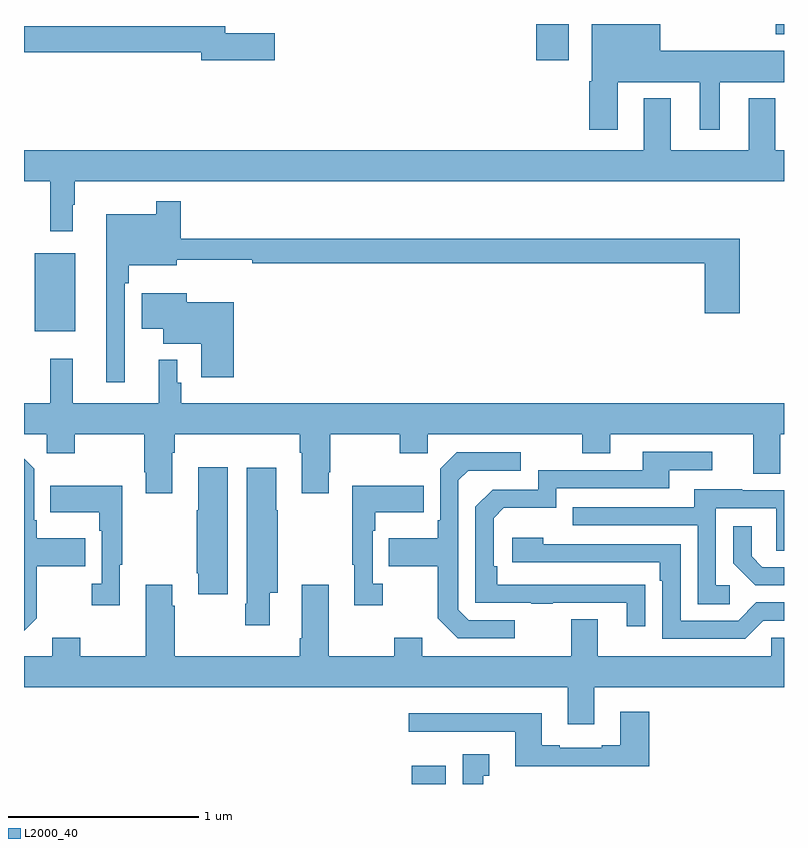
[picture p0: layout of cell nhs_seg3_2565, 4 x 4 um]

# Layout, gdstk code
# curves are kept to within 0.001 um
import gdstk
lib = gdstk.Library(unit=1e-6, precision=1e-09)
def R(c, l, rs):  # rectangles x0, y0, x1, y1
    for r in rs: c.add(gdstk.rectangle(r[:2], r[2:], *l))
def P(c, l, *ps):  # polygons
    for p in ps: c.add(gdstk.Polygon(p, *l))
L2000_40 = (2000, 40)

nhs_seg3_2565 = lib.new_cell('nhs_seg3_2565')
R(nhs_seg3_2565, L2000_40, [(245.042,708.4,245.221,708.496), (243.056,710.783,243.271,711.193), (245.696,712.209,245.866,712.4), (246.957,712.346,247,712.4)])
P(nhs_seg3_2565, L2000_40, [(246.124,712.094),(246.557,712.094),(246.557,711.843),(246.661,711.843),(246.661,712.094),(247,712.094),(247,712.258),(246.349,712.258),(246.349,712.4),(245.987,712.4),(245.987,712.098),(245.975,712.098),(245.975,711.843),(246.124,711.843)],
  [(244.321,712.352),(244.06,712.352),(244.06,712.388),(243,712.388),(243,712.252),(243.932,712.252),(243.932,712.21),(244.321,712.21)],
  [(243.256,711.449),(243.268,711.449),(243.268,711.572),(247,711.572),(247,711.736),(246.955,711.736),(246.955,712.009),(246.815,712.009),(246.815,711.736),(246.403,711.736),(246.403,712.009),(246.263,712.009),(246.263,711.736),(243,711.736),(243,711.572),(243.139,711.572),(243.139,711.309),(243.256,711.309)],
  [(243.531,711.035),(243.551,711.035),(243.551,711.131),(243.805,711.131),(243.805,711.16),(244.201,711.16),(244.201,711.142),(246.584,711.142),(246.584,710.877),(246.767,710.877),(246.767,711.271),(243.824,711.271),(243.824,711.466),(243.696,711.466),(243.696,711.4),(243.434,711.4),(243.434,710.514),(243.531,710.514)],
  [(244.103,710.935),(243.856,710.935),(243.856,710.983),(243.62,710.983),(243.62,710.795),(243.734,710.795),(243.734,710.717),(243.932,710.717),(243.932,710.541),(244.103,710.541)],
  [(243.781,710.144),(243.794,710.144),(243.794,710.24),(244.451,710.24),(244.451,710.144),(244.463,710.144),(244.463,709.929),(244.603,709.929),(244.603,710.041),(244.611,710.041),(244.611,710.24),(244.978,710.24),(244.978,710.141),(245.124,710.141),(245.124,710.24),(245.938,710.24),(245.938,710.141),(246.085,710.141),(246.085,710.24),(246.839,710.24),(246.839,710.032),(246.979,710.032),(246.979,710.24),(247,710.24),(247,710.404),(243.827,710.404),(243.827,710.511),(243.807,710.511),(243.807,710.632),(243.71,710.632),(243.71,710.404),(243.257,710.404),(243.257,710.638),(243.139,710.638),(243.139,710.404),(243,710.404),(243,710.24),(243.12,710.24),(243.12,710.141),(243.267,710.141),(243.267,710.24),(243.634,710.24),(243.634,710.041),(243.641,710.041),(243.641,709.929),(243.781,709.929)],
  [(246.269,709.448),(245.492,709.449),(245.492,709.546),(245.472,709.546),(245.472,709.8),(245.525,709.853),(245.802,709.853),(245.802,709.956),(246.397,709.956),(246.397,710.052),(246.622,710.052),(246.622,710.148),(246.257,710.148),(246.257,710.052),(245.706,710.052),(245.706,709.95),(245.466,709.95),(245.376,709.86),(245.376,709.353),(245.671,709.353),(245.671,709.348),(245.783,709.348),(245.783,709.353),(246.173,709.353),(246.173,709.23),(246.269,709.23)],
  [(245.584,709.263),(245.34,709.263),(245.286,709.317),(245.286,709.998),(245.337,710.049),(245.614,710.049),(245.614,710.145),(245.277,710.145),(245.19,710.058),(245.19,709.789),(245.178,709.789),(245.178,709.693),(244.921,709.693),(244.921,709.546),(245.178,709.546),(245.178,709.273),(245.283,709.167),(245.584,709.167)],
  [(243.067,709.273),(243.067,709.546),(243.323,709.546),(243.323,709.693),(243.067,709.693),(243.067,709.789),(243.054,709.789),(243.054,710.058),(243,710.112),(243,709.206)],
  [(244.072,710.068),(243.917,710.068),(243.917,709.841),(243.91,709.841),(243.91,709.51),(243.917,709.51),(243.917,709.398),(244.072,709.398)],
  [(244.294,709.406),(244.335,709.406),(244.335,709.841),(244.327,709.841),(244.327,710.065),(244.172,710.065),(244.172,709.348),(244.165,709.348),(244.165,709.236),(244.294,709.236)],
  [(244.888,709.454),(244.836,709.454),(244.836,709.733),(244.849,709.733),(244.849,709.829),(245.105,709.829),(245.105,709.969),(244.728,709.969),(244.728,709.553),(244.739,709.553),(244.739,709.341),(244.888,709.341)],
  [(243.505,709.553),(243.517,709.553),(243.517,709.969),(243.139,709.969),(243.139,709.829),(243.396,709.829),(243.396,709.733),(243.408,709.733),(243.408,709.454),(243.357,709.454),(243.357,709.341),(243.505,709.341)],
  [(246.715,709.446),(246.642,709.446),(246.642,709.851),(246.96,709.851),(246.96,709.627),(247,709.627),(247,709.947),(246.781,709.947),(246.781,709.951),(246.527,709.951),(246.527,709.857),(245.887,709.857),(245.887,709.761),(246.546,709.761),(246.546,709.345),(246.715,709.345)],
  [(247,709.542),(246.886,709.542),(246.829,709.599),(246.829,709.756),(246.732,709.756),(246.732,709.562),(246.848,709.446),(247,709.446)],
  [(246.891,709.26),(247,709.26),(247,709.356),(246.855,709.356),(246.759,709.26),(246.456,709.26),(246.456,709.662),(245.732,709.662),(245.732,709.696),(245.571,709.696),(245.571,709.566),(246.347,709.566),(246.347,709.469),(246.36,709.469),(246.36,709.164),(246.795,709.164)],
  [(246.001,708.908),(247,708.908),(247,709.17),(246.933,709.17),(246.933,709.072),(246.019,709.072),(246.019,709.267),(245.879,709.267),(245.879,709.072),(245.095,709.072),(245.095,709.171),(244.948,709.171),(244.948,709.072),(244.603,709.072),(244.603,709.45),(244.463,709.45),(244.463,709.168),(244.451,709.168),(244.451,709.072),(243.794,709.072),(243.794,709.337),(243.781,709.337),(243.781,709.45),(243.641,709.45),(243.641,709.072),(243.297,709.072),(243.297,709.171),(243.149,709.171),(243.149,709.072),(243,709.072),(243,708.908),(245.861,708.908),(245.861,708.714),(246.001,708.714)],
  [(246.29,708.781),(246.137,708.781),(246.137,708.604),(246.041,708.604),(246.041,708.591),(245.821,708.591),(245.821,708.604),(245.725,708.604),(245.725,708.772),(245.025,708.772),(245.025,708.675),(245.585,708.675),(245.585,708.494),(246.29,708.494)],
  [(245.416,708.443),(245.449,708.443),(245.449,708.556),(245.309,708.556),(245.309,708.4),(245.416,708.4)])

lib.write_gds('nhs_seg3_2565.gds')
